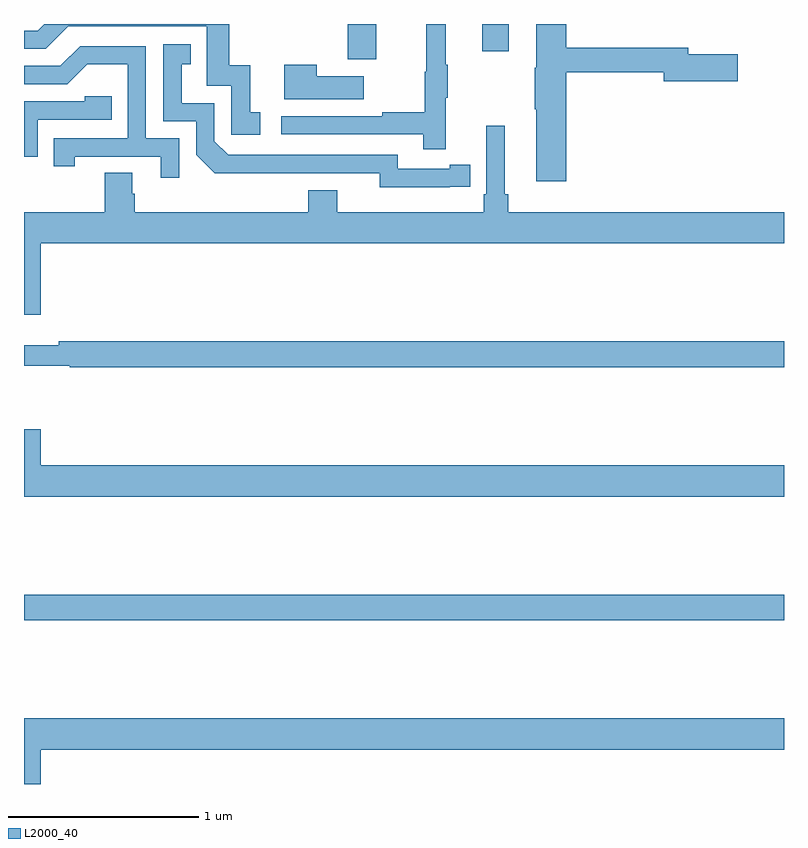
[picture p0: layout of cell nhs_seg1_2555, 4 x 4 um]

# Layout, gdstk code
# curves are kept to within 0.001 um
import gdstk
lib = gdstk.Library(unit=1e-6, precision=1e-09)
def R(c, l, rs):  # rectangles x0, y0, x1, y1
    for r in rs: c.add(gdstk.rectangle(r[:2], r[2:], *l))
def P(c, l, *ps):  # polygons
    for p in ps: c.add(gdstk.Polygon(p, *l))
L2000_40 = (2000, 40)

nhs_seg1_2555 = lib.new_cell('nhs_seg1_2555')
R(nhs_seg1_2555, L2000_40, [(249,571.06,253,571.196), (250.703,574.014,250.855,574.199), (251.411,574.056,251.551,574.199)])
P(nhs_seg1_2555, L2000_40, [(250.243,573.735),(250.19,573.735),(250.19,573.982),(250.079,573.982),(250.079,574.199),(249.107,574.199),(249.072,574.164),(249,574.164),(249,574.068),(249.114,574.068),(249.234,574.188),(249.963,574.188),(249.963,573.873),(250.092,573.873),(250.092,573.615),(250.243,573.615)],
  [(251.855,573.946),(252.368,573.946),(252.368,573.899),(252.757,573.899),(252.757,574.041),(252.496,574.041),(252.496,574.075),(251.855,574.075),(251.855,574.199),(251.696,574.199),(251.696,573.969),(251.689,573.969),(251.689,573.751),(251.696,573.751),(251.696,573.372),(251.855,573.372)],
  [(251.219,573.811),(251.23,573.811),(251.23,573.985),(251.219,573.985),(251.219,574.198),(251.116,574.198),(251.116,573.948),(251.109,573.948),(251.109,573.734),(250.885,573.734),(250.885,573.714),(250.353,573.714),(250.353,573.618),(251.101,573.618),(251.101,573.54),(251.219,573.54)],
  [(251.24,573.342),(251.348,573.342),(251.348,573.458),(251.24,573.458),(251.24,573.438),(250.968,573.438),(250.968,573.51),(250.074,573.51),(250.002,573.582),(250.002,573.783),(249.829,573.783),(249.829,573.987),(249.878,573.987),(249.878,574.093),(249.732,574.093),(249.732,573.687),(249.906,573.687),(249.906,573.51),(250.004,573.413),(250.872,573.414),(250.872,573.341)],
  [(249.816,573.597),(249.642,573.597),(249.642,574.083),(249.296,574.083),(249.191,573.978),(249,573.978),(249,573.882),(249.228,573.882),(249.332,573.986),(249.546,573.986),(249.546,573.597),(249.157,573.597),(249.157,573.45),(249.268,573.45),(249.268,573.501),(249.719,573.501),(249.719,573.39),(249.816,573.39)],
  [(250.789,573.925),(250.541,573.925),(250.541,573.985),(250.37,573.985),(250.37,573.803),(250.789,573.803)],
  [(249.072,573.696),(249.461,573.696),(249.461,573.819),(249.321,573.819),(249.321,573.792),(249,573.792),(249,573.501),(249.072,573.501)],
  [(249.088,573.044),(253,573.044),(253,573.208),(251.549,573.208),(251.549,573.304),(251.53,573.304),(251.53,573.664),(251.433,573.664),(251.433,573.304),(251.42,573.304),(251.42,573.208),(250.648,573.208),(250.648,573.325),(250.496,573.325),(250.496,573.208),(249.584,573.208),(249.584,573.306),(249.571,573.306),(249.571,573.416),(249.424,573.416),(249.424,573.208),(249,573.208),(249,572.67),(249.088,572.67)],
  [(253,572.528),(249.184,572.528),(249.184,572.509),(249,572.509),(249,572.4),(249.24,572.4),(249.24,572.392),(253,572.392)],
  [(253,571.876),(249.088,571.876),(249.088,572.065),(249,572.065),(249,571.712),(253,571.712)],
  [(249.088,570.38),(253,570.38),(253,570.544),(249,570.544),(249,570.199),(249.088,570.199)])

lib.write_gds('nhs_seg1_2555.gds')
